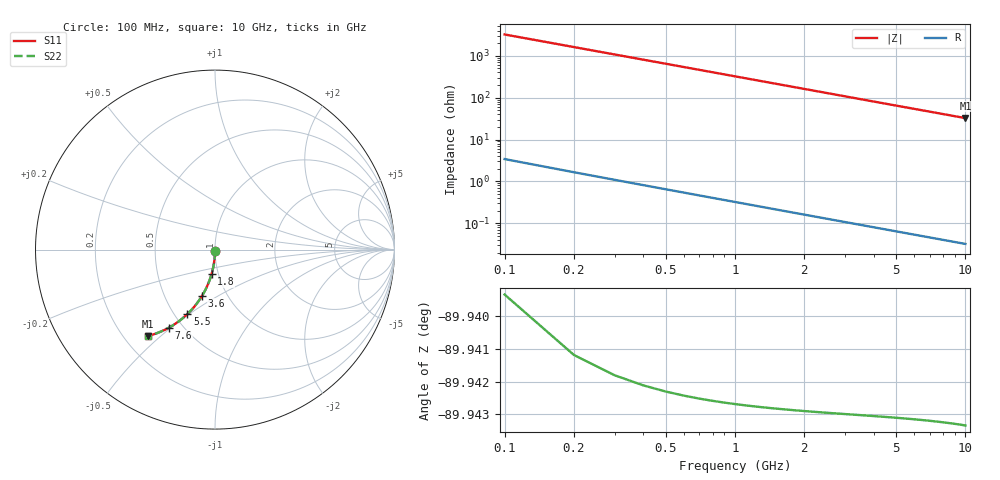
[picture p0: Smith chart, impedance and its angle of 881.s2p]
# Hz S RI R 50.00
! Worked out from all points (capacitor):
!   100 points, 100 MHz to 10 GHz, reference 50 ohm
!   read as one part in shunt: C = 494 fF near 100 MHz
!   lowest |Z| = 32.5 ohm at 10 GHz (marker M1)
!   S11 on the Smith chart (normalised r, x): 100 MHz: 1.00, -0.02; 1.8 GHz: 0.93, -0.26; 3.6 GHz: 0.76, -0.42; 5.5 GHz: 0.58, -0.49; 7.6 GHz: 0.42, -0.49; 10 GHz: 0.30, -0.45
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1e8  -5.8e-05 -0.00773  0.9999 -0.00777  0.9999 -0.00777  -5.8e-05 -0.00773
2e8  -0.000246 -0.0155  0.9997 -0.0155  0.9997 -0.0155  -0.000246 -0.0155
3e8  -0.000554 -0.0232  0.9994 -0.0233  0.9994 -0.0233  -0.000554 -0.0232
4e8  -0.000981 -0.0309  0.999 -0.0311  0.999 -0.0311  -0.000981 -0.0309
5e8  -0.00153 -0.0386  0.9985 -0.0388  0.9985 -0.0388  -0.00153 -0.0386
6e8  -0.00219 -0.0463  0.9978 -0.0465  0.9978 -0.0465  -0.00219 -0.0463
8e8  -0.00388 -0.0616  0.9961 -0.0619  0.9961 -0.0619  -0.00388 -0.0616
1.1e9  -0.00729 -0.0844  0.9927 -0.0848  0.9927 -0.0848  -0.00729 -0.0844
1.4e9  -0.0117 -0.1069  0.9883 -0.1075  0.9883 -0.1075  -0.0117 -0.1069
1.8e9  -0.0192 -0.1364  0.9808 -0.1371  0.9808 -0.1371  -0.0192 -0.1364
2.1e9  -0.0259 -0.158  0.9741 -0.1589  0.9741 -0.1589  -0.0259 -0.158
2.5e9  -0.0363 -0.1861  0.9637 -0.1871  0.9637 -0.1871  -0.0363 -0.1861
2.9e9  -0.0482 -0.2131  0.9518 -0.2143  0.9518 -0.2143  -0.0482 -0.2131
3.4e9  -0.065 -0.2454  0.935 -0.2467  0.935 -0.2467  -0.065 -0.2454
3.6e9  -0.0723 -0.2577  0.9277 -0.2592  0.9277 -0.2592  -0.0723 -0.2577
4.3e9  -0.0999 -0.2985  0.9001 -0.3002  0.9001 -0.3002  -0.0999 -0.2985
5.1e9  -0.1348 -0.34  0.8652 -0.3421  0.8652 -0.3421  -0.1348 -0.34
5.5e9  -0.1533 -0.3587  0.8466 -0.3609  0.8466 -0.3609  -0.1533 -0.3587
6.7e9  -0.2115 -0.4065  0.7885 -0.4092  0.7885 -0.4092  -0.2115 -0.4065
7.6e9  -0.2562 -0.4345  0.7437 -0.4376  0.7437 -0.4376  -0.2562 -0.4345
8.4e9  -0.2959 -0.4543  0.704 -0.4577  0.704 -0.4577  -0.2959 -0.4543
1e10  -0.3727 -0.481  0.6272 -0.4851  0.6272 -0.4851  -0.3727 -0.481
